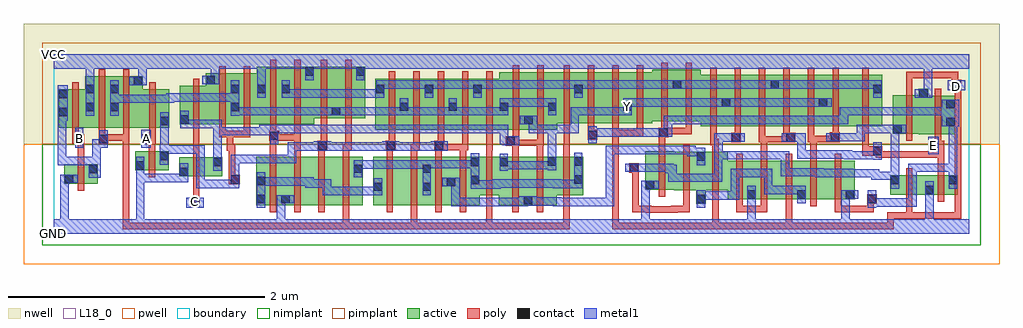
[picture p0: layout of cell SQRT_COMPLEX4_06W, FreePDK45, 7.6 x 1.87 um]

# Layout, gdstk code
import gdstk
lib = gdstk.Library(unit=1e-6, precision=1e-09)
def R(c, l, rs):  # rectangles x0, y0, x1, y1
    for r in rs: c.add(gdstk.rectangle(r[:2], r[2:], *l))
def A(c, l, x, y, w, h, nx, ny, dx, dy):  # array of equal rectangles
    R(c, l, [(x+i*dx, y+j*dy, x+i*dx+w, y+j*dy+h) for i in range(nx) for j in range(ny)])
active = (1, 0)
pwell = (2, 0)
nwell = (3, 0)
nimplant = (4, 0)
pimplant = (5, 0)
poly = (9, 0)
contact = (10, 0)
metal1 = (11, 0)
L18_0 = (18, 0)
boundary = (235, 0)

sqrt_complex4_06w = lib.new_cell('SQRT_COMPLEX4_06W')
R(sqrt_complex4_06w, active, [(1.577,0.225,1.842,0.6), (1.577,0.225,1.652,0.6), (1.767,0.225,1.842,0.55), (1.767,0.225,1.992,0.6), (1.992,0.225,2.182,0.6), (2.182,0.225,2.407,0.6), (2.487,0.225,2.712,0.6), (2.487,0.225,2.562,0.527), (2.712,0.225,2.942,0.6), (2.867,0.225,3.132,0.6), (3.057,0.225,3.132,0.55), (3.057,0.225,3.317,0.6), (3.467,0.225,3.73,0.6), (3.655,0.225,3.917,0.6), (3.655,0.225,3.73,0.55), (2.867,0.235,2.942,0.55), (5.002,0.235,5.077,0.64), (2.332,0.27,2.407,0.6), (5.247,0.27,5.472,0.57), (5.397,0.27,5.627,0.57), (5.397,0.27,5.472,0.55), (5.627,0.27,5.862,0.57), (5.787,0.27,6.012,0.57), (5.787,0.27,5.862,0.437), (6.012,0.27,6.237,0.57), (6.162,0.27,6.237,0.42), (3.242,0.3,3.542,0.6), (3.842,0.3,4.122,0.6), (6.515,0.305,6.855,0.455), (6.78,0.305,6.855,0.38), (6.78,0.305,7.04,0.455), (3.242,0.33,3.317,0.597), (4.047,0.33,4.122,0.6), (6.515,0.335,6.59,0.455), (4.832,0.34,5.077,0.64), (5.002,0.34,5.247,0.64), (3.467,0.345,3.542,0.595), (3.842,0.345,3.917,0.6), (4.607,0.345,4.832,0.645), (4.607,0.345,4.682,0.547), (6.965,0.38,7.04,0.455), (0.082,0.392,0.342,0.542), (0.082,0.392,0.157,0.542), (0.977,0.447,1.052,0.597), (0.977,0.447,1.312,0.597), (0.267,0.467,0.342,0.542), (0.637,0.495,0.897,0.645), (0.637,0.495,0.712,0.645), (0.822,0.495,0.897,0.645), (1.237,0.495,1.312,0.597), (6.737,0.775,7.02,1.075), (6.945,0.775,7.02,1.055), (6.532,0.78,6.812,1.08), (6.532,0.78,6.607,0.94), (6.737,0.795,6.812,1.13), (2.505,0.81,2.765,1.21), (2.69,0.81,2.96,1.21), (2.885,0.81,3.145,1.21), (3.07,0.81,3.337,1.21), (3.262,0.81,3.545,1.21), (3.47,0.81,3.735,1.26), (3.47,0.81,3.545,1.07), (3.66,0.81,3.92,1.26), (3.66,0.81,3.735,0.94), (0.04,0.827,0.32,1.127), (0.04,0.827,0.115,1.127), (0.245,0.827,0.51,1.227), (0.245,0.827,0.32,1.165), (0.435,0.827,0.695,1.227), (0.435,0.827,0.51,1.165), (0.62,0.827,0.9,1.127), (5.04,0.84,5.272,1.24), (5.197,0.84,5.422,1.24), (5.422,0.84,5.652,1.24), (5.577,0.84,5.802,1.24), (5.802,0.84,6.027,1.24), (5.952,0.84,6.21,1.24), (6.21,0.84,6.452,1.24), (0.825,0.842,0.9,1.055), (3.262,0.85,3.337,1.165), (0.98,0.852,1.26,1.152), (0.98,0.852,1.055,1.07), (1.185,0.852,1.45,1.252), (1.185,0.852,1.26,1.237), (1.375,0.852,1.655,1.252), (1.375,0.852,1.45,1.2), (1.58,0.852,1.845,1.302), (1.58,0.852,1.655,1.222), (1.77,0.852,2.03,1.302), (1.77,0.852,1.845,1.2), (3.845,0.86,4.125,1.26), (3.845,0.86,3.92,1.07), (4.05,0.86,4.28,1.26), (4.05,0.86,4.125,1.2), (4.28,0.86,4.507,1.26), (4.432,0.86,4.66,1.26), (0.62,0.875,0.695,1.227), (4.66,0.877,4.89,1.277), (4.815,0.877,5.04,1.277), (4.432,0.897,4.507,1.07), (1.955,0.902,2.235,1.302), (2.16,0.902,2.235,1.07), (2.16,0.902,2.425,1.302), (2.69,0.902,2.765,1.07), (3.07,0.902,3.145,1.07), (1.955,0.907,2.03,1.302), (2.35,0.907,2.425,1.302), (2.505,0.907,2.58,1.167), (2.885,0.907,2.96,1.165), (4.815,0.907,4.89,1.2), (5.197,0.907,5.272,1.07), (5.577,0.907,5.652,1.2), (5.952,0.907,6.027,1.07), (6.377,0.907,6.452,1.165)])
R(sqrt_complex4_06w, pwell, [(-0.235,-0.235,7.365,0.7)])
R(sqrt_complex4_06w, nwell, [(-0.235,0.7,7.365,1.635)])
R(sqrt_complex4_06w, nimplant, [(-0.09,-0.09,7.22,0.7)])
R(sqrt_complex4_06w, pimplant, [(-0.09,0.7,7.22,1.49)])
A(sqrt_complex4_06w, poly, 1.682, 0.17, 0.05, 0.485, 4, 1, 0.19, 0)
A(sqrt_complex4_06w, poly, 2.592, 0.17, 0.05, 0.485, 4, 1, 0.19, 0)
A(sqrt_complex4_06w, poly, 5.702, 0.215, 0.05, 0.41, 3, 1, 0.19, 0)
A(sqrt_complex4_06w, poly, 2.592, 0.605, 0.05, 0.095, 4, 1, 0.19, 0)
A(sqrt_complex4_06w, poly, 2.61, 0.755, 0.05, 0.51, 5, 1, 0.19, 0)
A(sqrt_complex4_06w, poly, 4.16, 0.76, 0.05, 0.095, 3, 1, 0.19, 0)
A(sqrt_complex4_06w, poly, 5.112, 0.785, 0.05, 0.51, 5, 1, 0.19, 0)
A(sqrt_complex4_06w, poly, 3.97, 0.805, 0.05, 0.51, 4, 1, 0.19, 0)
R(sqrt_complex4_06w, poly, [(0.537,0.037,0.587,0.087), (0.537,0.037,0.587,0.087), (0.537,0.037,0.587,0.087), (0.537,0.037,0.587,0.087), (0.537,0.037,0.587,0.087), (0.537,0.037,0.847,0.087), (0.537,0.037,0.587,0.777), (0.797,0.037,0.847,0.087), (0.797,0.037,0.847,0.087), (0.797,0.037,0.847,0.087), (0.797,0.037,0.98,0.087), (0.93,0.037,0.98,0.087), (0.93,0.037,0.98,0.087), (0.93,0.037,0.98,0.087), (0.93,0.037,0.98,0.087), (0.93,0.037,0.98,0.087), (0.93,0.037,1.242,0.087), (1.192,0.037,1.242,0.087), (1.192,0.037,1.375,0.087), (1.325,0.037,1.375,0.087), (1.325,0.037,1.375,0.087), (1.325,0.037,1.375,0.087), (1.325,0.037,1.597,0.087), (1.547,0.037,1.597,0.087), (1.547,0.037,1.597,0.087), (1.547,0.037,1.597,0.087), (1.547,0.037,1.73,0.087), (1.68,0.037,1.73,0.087), (1.68,0.037,1.887,0.087), (1.837,0.037,1.887,0.087), (1.837,0.037,1.887,0.087), (1.837,0.037,1.887,0.087), (1.837,0.037,2.02,0.087), (1.97,0.037,2.02,0.087), (1.97,0.037,2.02,0.087), (1.97,0.037,2.02,0.087), (1.97,0.037,2.302,0.087), (2.252,0.037,2.302,0.087), (2.252,0.037,2.302,0.087), (2.252,0.037,2.302,0.087), (2.252,0.037,2.435,0.087), (2.252,0.037,2.302,0.22), (2.385,0.037,2.435,0.087), (2.385,0.037,2.567,0.087), (2.517,0.037,2.567,0.087), (2.517,0.037,2.567,0.087), (2.517,0.037,2.567,0.087), (2.517,0.037,2.832,0.087), (2.782,0.037,2.832,0.087), (2.782,0.037,2.832,0.087), (2.782,0.037,2.832,0.087), (2.782,0.037,2.832,0.22), (2.782,0.037,3.08,0.087), (3.03,0.037,3.08,0.087), (3.03,0.037,3.08,0.087), (3.03,0.037,3.08,0.087), (3.03,0.037,3.212,0.087), (3.162,0.037,3.212,0.087), (3.162,0.037,3.212,0.087), (3.162,0.037,3.212,0.087), (3.162,0.037,3.417,0.087), (3.367,0.037,3.417,0.087), (3.367,0.037,3.417,0.087), (3.367,0.037,3.417,0.087), (3.367,0.037,3.417,0.295), (3.367,0.037,3.652,0.087), (3.602,0.037,3.652,0.087), (3.602,0.037,3.652,0.087), (3.602,0.037,3.652,0.087), (3.602,0.037,3.785,0.087), (3.735,0.037,3.785,0.087), (3.735,0.037,3.785,0.087), (3.735,0.037,3.785,0.087), (3.735,0.037,4.017,0.087), (3.967,0.037,4.017,0.087), (3.967,0.037,4.017,0.087), (3.967,0.037,4.017,0.087), (3.967,0.037,4.017,0.295), (4.35,0.037,4.4,0.087), (4.35,0.037,4.4,0.087), (4.35,0.037,4.4,0.087), (4.35,0.037,4.4,0.087), (4.35,0.037,4.4,0.087), (4.35,0.037,4.4,0.087), (4.35,0.037,4.4,0.087), (4.35,0.037,4.4,0.087), (4.35,0.037,4.4,0.087), (4.35,0.037,4.4,0.087), (4.35,0.037,4.4,0.087), (4.35,0.037,4.56,0.087), (4.35,0.037,4.4,0.81), (4.51,0.037,4.56,0.087), (4.51,0.037,4.56,0.087), (4.51,0.037,4.56,0.087), (4.51,0.037,4.797,0.087), (4.747,0.037,4.797,0.087), (4.747,0.037,4.797,0.087), (4.747,0.037,4.797,0.087), (4.747,0.037,5.03,0.087), (4.98,0.037,5.03,0.087), (4.98,0.037,5.03,0.087), (4.98,0.037,5.03,0.087), (4.98,0.037,5.177,0.087), (5.127,0.037,5.177,0.087), (5.127,0.037,5.177,0.087), (5.127,0.037,5.177,0.087), (5.127,0.037,5.177,0.087), (5.127,0.037,5.177,0.087), (5.127,0.037,5.41,0.087), (5.127,0.037,5.177,0.335), (5.36,0.037,5.41,0.087), (5.36,0.037,5.41,0.087), (5.36,0.037,5.41,0.087), (5.36,0.037,5.542,0.087), (5.492,0.037,5.542,0.087), (5.492,0.037,5.542,0.087), (5.492,0.037,5.542,0.087), (5.492,0.037,5.752,0.087), (5.702,0.037,5.752,0.087), (5.702,0.037,5.752,0.087), (5.702,0.037,5.752,0.087), (5.702,0.037,5.752,0.087), (5.702,0.037,5.752,0.087), (5.702,0.037,5.962,0.087), (5.702,0.037,5.752,0.265), (5.912,0.037,5.962,0.087), (5.912,0.037,5.962,0.087), (5.912,0.037,5.962,0.087), (5.912,0.037,6.215,0.087), (6.165,0.037,6.215,0.087), (6.165,0.037,6.215,0.087), (6.165,0.037,6.215,0.087), (6.165,0.037,6.542,0.087), (6.492,0.037,6.542,0.087), (6.492,0.037,6.542,0.087), (6.492,0.037,6.542,0.087), (6.492,0.037,6.542,0.087), (6.492,0.037,6.542,0.087), (6.492,0.037,6.542,0.167), (6.492,0.117,6.542,0.167), (6.492,0.117,6.687,0.167), (6.637,0.117,6.687,0.167), (6.637,0.117,6.687,0.167), (6.637,0.117,6.687,0.167), (6.637,0.117,6.91,0.167), (6.637,0.117,6.687,0.3), (6.86,0.117,6.91,0.167), (6.86,0.117,6.91,0.167), (6.86,0.117,6.91,0.167), (6.86,0.117,7.067,0.167), (7.017,0.117,7.067,0.167), (7.017,0.117,7.067,0.167), (7.017,0.117,7.067,0.167), (7.017,0.117,7.067,0.167), (7.017,0.117,7.067,0.167), (7.017,0.117,7.067,0.167), (7.017,0.117,7.067,0.167), (7.017,0.117,7.067,0.167), (7.017,0.117,7.067,0.167), (7.017,0.117,7.067,0.167), (7.017,0.117,7.067,0.167), (7.017,0.117,7.067,1.175), (4.605,0.165,4.655,0.22), (4.605,0.165,4.82,0.215), (4.77,0.165,4.82,0.215), (4.77,0.165,4.86,0.215), (4.81,0.165,4.86,0.22), (3.572,0.17,3.622,0.655), (3.762,0.17,3.812,0.655), (4.507,0.17,4.557,0.22), (4.507,0.17,4.655,0.22), (4.507,0.17,4.557,0.527), (4.81,0.17,4.952,0.22), (4.902,0.17,4.952,0.22), (4.902,0.17,4.952,0.335), (5.317,0.17,5.367,0.22), (5.317,0.17,5.367,0.22), (5.317,0.17,5.367,0.22), (5.317,0.17,5.367,0.265), (5.317,0.17,5.557,0.22), (5.507,0.17,5.557,0.22), (5.507,0.17,5.557,0.265), (6.082,0.17,6.132,0.22), (6.082,0.17,6.132,0.22), (6.082,0.17,6.132,0.22), (6.082,0.17,6.132,0.265), (6.082,0.17,6.385,0.22), (6.335,0.17,6.385,0.22), (6.335,0.17,6.385,0.285), (1.062,0.212,1.137,0.287), (5.317,0.215,5.367,0.625), (5.507,0.215,5.557,0.625), (6.335,0.235,6.41,0.31), (1.085,0.237,1.135,0.442), (3.367,0.245,3.417,0.655), (3.967,0.245,4.017,0.655), (6.637,0.25,6.687,0.51), (6.885,0.25,6.935,0.51), (4.902,0.285,4.952,0.695), (5.127,0.285,5.177,0.695), (4.712,0.29,4.762,0.7), (0.187,0.337,0.237,0.597), (1.362,0.385,1.45,0.46), (1.085,0.392,1.135,0.652), (1.362,0.41,1.412,0.697), (0.742,0.44,0.792,0.7), (6.885,0.46,6.935,0.642), (4.482,0.477,4.557,0.552), (4.507,0.477,4.557,0.527), (4.507,0.477,4.557,0.527), (0.187,0.547,0.237,0.752), (5.507,0.575,5.557,0.762), (5.892,0.575,5.942,0.765), (6.402,0.592,6.675,0.642), (6.402,0.592,6.452,0.657), (6.625,0.592,6.675,0.642), (6.625,0.592,6.675,0.642), (6.625,0.592,6.675,0.642), (6.625,0.592,6.87,0.642), (6.82,0.592,6.87,0.642), (6.82,0.592,6.87,0.642), (6.82,0.592,6.935,0.725), (1.085,0.602,1.135,0.802), (1.682,0.605,1.732,0.777), (1.872,0.605,1.922,0.777), (2.062,0.605,2.112,0.7), (2.252,0.605,2.302,0.7), (3.367,0.605,3.417,0.7), (3.572,0.605,3.622,0.735), (3.762,0.605,3.812,0.735), (3.967,0.605,4.017,0.702), (6.297,0.607,6.452,0.682), (6.402,0.607,6.452,0.657), (6.297,0.632,6.347,0.835), (5.127,0.645,5.177,0.74), (1.347,0.647,1.412,0.697), (1.347,0.647,1.397,0.802), (0.742,0.65,0.792,0.752), (2.057,0.65,2.132,0.725), (2.252,0.65,2.32,0.7), (2.27,0.65,2.32,0.897), (2.587,0.65,2.662,0.725), (2.782,0.65,2.85,0.7), (2.8,0.65,2.85,0.805), (2.965,0.65,3.04,0.725), (2.99,0.65,3.212,0.7), (3.162,0.65,3.212,0.7), (3.162,0.65,3.212,0.7), (3.162,0.65,3.23,0.7), (3.18,0.65,3.23,0.805), (3.367,0.65,3.42,0.7), (3.37,0.65,3.42,0.805), (4.712,0.65,4.762,0.802), (3.967,0.652,4.02,0.702), (3.97,0.652,4.02,0.855), (2.08,0.675,2.13,0.897), (2.61,0.675,2.66,0.805), (2.99,0.675,3.04,0.805), (6.862,0.675,6.912,0.77), (3.522,0.685,3.625,0.76), (3.575,0.685,3.812,0.735), (3.762,0.685,3.812,0.735), (3.762,0.685,3.812,0.735), (3.762,0.685,3.815,0.735), (3.765,0.685,3.815,0.805), (5.112,0.69,5.177,0.74), (5.112,0.69,5.162,0.835), (0.145,0.702,0.237,0.777), (0.35,0.702,0.425,0.777), (0.685,0.702,0.795,0.777), (3.575,0.71,3.625,0.805), (5.277,0.712,5.352,0.787), (5.492,0.712,5.542,0.835), (5.492,0.712,5.557,0.762), (5.507,0.712,5.557,0.762), (5.507,0.712,5.557,0.762), (5.507,0.712,5.732,0.762), (5.682,0.712,5.775,0.787), (5.872,0.715,5.922,0.835), (5.872,0.715,5.942,0.765), (5.892,0.715,5.942,0.765), (5.892,0.715,5.942,0.765), (5.892,0.715,6.095,0.765), (6.045,0.715,6.12,0.79), (6.862,0.72,6.912,1.13), (6.637,0.725,6.687,1.135), (0.145,0.727,0.195,0.822), (0.35,0.727,0.4,0.822), (0.375,0.727,0.425,0.777), (0.375,0.727,0.425,0.777), (0.375,0.727,0.587,0.777), (0.537,0.727,0.587,0.777), (0.537,0.727,0.587,0.777), (0.537,0.727,0.59,0.777), (0.54,0.727,0.59,0.822), (0.745,0.727,0.795,0.822), (1.68,0.727,1.755,0.802), (1.705,0.727,1.755,0.777), (1.705,0.727,1.755,0.777), (1.705,0.727,1.922,0.777), (1.872,0.727,1.925,0.777), (1.875,0.727,1.925,0.847), (4.157,0.735,4.232,0.81), (5.302,0.737,5.352,0.835), (5.682,0.737,5.732,0.835), (6.065,0.74,6.115,0.835), (1.085,0.752,1.135,0.802), (1.085,0.752,1.135,0.847), (1.29,0.752,1.34,0.847), (1.29,0.752,1.397,0.802), (1.347,0.752,1.397,0.802), (1.347,0.752,1.397,0.802), (1.347,0.752,1.53,0.802), (1.48,0.752,1.53,0.802), (1.48,0.752,1.53,0.847), (1.685,0.752,1.735,0.847), (4.712,0.752,4.787,0.827), (3.575,0.755,3.625,1.315), (3.765,0.755,3.815,1.315), (4.35,0.76,4.4,0.81), (4.35,0.76,4.4,0.81), (4.35,0.76,4.4,0.81), (4.35,0.76,4.59,0.81), (4.54,0.76,4.59,0.81), (0.145,0.772,0.195,1.182), (0.35,0.772,0.4,1.282), (0.54,0.772,0.59,1.282), (0.745,0.772,0.795,1.182), (4.73,0.777,4.78,0.872), (4.737,0.777,4.787,0.827), (4.737,0.777,4.787,0.827), (4.737,0.777,4.97,0.827), (4.92,0.777,4.97,0.827), (4.92,0.777,4.97,0.872), (6.065,0.785,6.115,1.295), (6.297,0.785,6.347,1.295), (1.085,0.797,1.135,1.207), (1.29,0.797,1.34,1.307), (1.48,0.797,1.53,1.307), (1.685,0.797,1.735,1.357), (1.875,0.797,1.925,1.357), (4.73,0.822,4.78,1.332), (4.92,0.822,4.97,1.332), (2.08,0.847,2.13,1.357), (2.27,0.847,2.32,1.357), (6.637,1.085,6.687,1.262), (6.992,1.125,7.067,1.2), (7.017,1.125,7.067,1.175), (7.017,1.125,7.067,1.175), (6.992,1.15,7.042,1.262), (6.637,1.212,6.687,1.262), (6.637,1.212,6.82,1.262), (6.77,1.212,6.82,1.262), (6.77,1.212,6.82,1.262), (6.77,1.212,6.82,1.262), (6.77,1.212,7.042,1.262), (6.992,1.212,7.042,1.262), (6.992,1.212,7.042,1.262), (6.992,1.212,7.042,1.262)])
R(sqrt_complex4_06w, contact, [(1.067,0.217,1.132,0.282), (3.66,0.23,3.725,0.295), (1.772,0.237,1.837,0.302), (1.582,0.24,1.647,0.305), (5.007,0.24,5.072,0.305), (6.34,0.24,6.405,0.305), (5.402,0.275,5.467,0.34), (5.792,0.275,5.857,0.34), (6.167,0.275,6.232,0.34), (6.785,0.31,6.85,0.375), (2.492,0.335,2.557,0.4), (2.872,0.335,2.937,0.4), (4.612,0.35,4.677,0.415), (3.062,0.372,3.127,0.437), (1.582,0.38,1.647,0.445), (6.52,0.385,6.585,0.45), (6.97,0.385,7.035,0.45), (3.247,0.387,3.312,0.452), (1.38,0.39,1.445,0.455), (4.052,0.39,4.117,0.455), (0.087,0.397,0.152,0.462), (0.982,0.452,1.047,0.517), (0.272,0.472,0.337,0.537), (2.337,0.475,2.402,0.54), (2.872,0.475,2.937,0.54), (4.487,0.482,4.552,0.547), (0.642,0.5,0.707,0.565), (3.472,0.525,3.537,0.59), (1.242,0.527,1.307,0.592), (3.247,0.527,3.312,0.592), (3.847,0.53,3.912,0.595), (4.052,0.53,4.117,0.595), (5.007,0.57,5.072,0.635), (0.827,0.575,0.892,0.64), (6.382,0.612,6.447,0.677), (2.062,0.655,2.127,0.72), (2.592,0.655,2.657,0.72), (2.97,0.655,3.035,0.72), (6.825,0.655,6.89,0.72), (3.527,0.69,3.592,0.755), (0.167,0.707,0.232,0.772), (0.355,0.707,0.42,0.772), (0.69,0.707,0.755,0.772), (5.282,0.717,5.347,0.782), (5.705,0.717,5.77,0.782), (6.05,0.72,6.115,0.785), (1.685,0.732,1.75,0.797), (4.162,0.74,4.227,0.805), (4.717,0.757,4.782,0.822), (6.537,0.785,6.602,0.85), (6.95,0.84,7.015,0.905), (0.83,0.847,0.895,0.912), (3.665,0.855,3.73,0.92), (0.985,0.857,1.05,0.922), (0.045,0.917,0.11,0.982), (2.165,0.922,2.23,0.987), (0.25,0.955,0.315,1.02), (0.44,0.955,0.505,1.02), (1.38,0.955,1.445,1.02), (2.695,0.957,2.76,1.022), (3.075,0.957,3.14,1.022), (3.475,0.957,3.54,1.022), (3.85,0.957,3.915,1.022), (4.437,0.957,4.502,1.022), (6.95,0.98,7.015,1.045), (5.202,0.992,5.267,1.057), (5.957,0.992,6.022,1.057), (0.045,1.057,0.11,1.122), (6.742,1.06,6.807,1.125), (0.25,1.095,0.315,1.16), (0.44,1.095,0.505,1.16), (1.38,1.095,1.445,1.16), (1.585,1.095,1.65,1.16), (1.775,1.095,1.84,1.16), (2.51,1.095,2.575,1.16), (2.89,1.095,2.955,1.16), (3.267,1.095,3.332,1.16), (4.055,1.095,4.12,1.16), (6.382,1.095,6.447,1.16), (4.82,1.13,4.885,1.195), (5.582,1.13,5.647,1.195), (6.997,1.13,7.062,1.195), (0.625,1.157,0.69,1.222), (1.19,1.167,1.255,1.232), (1.96,1.232,2.025,1.297), (2.355,1.232,2.42,1.297)])
A(sqrt_complex4_06w, metal1, 2.375, 0.785, 0.065, 0.065, 3, 1, 0.16, 0)
R(sqrt_complex4_06w, metal1, [(0,0,7.13,0.115), (0.052,0.05,0.117,0.115), (0.052,0.05,0.117,0.115), (0.052,0.05,0.117,0.115), (0.052,0.05,0.117,0.115), (0.052,0.05,0.117,0.462), (0.642,0.05,0.707,0.115), (0.642,0.05,0.707,0.115), (0.642,0.05,0.707,0.115), (0.642,0.05,0.707,0.115), (0.642,0.05,0.707,0.115), (0.642,0.05,0.707,0.115), (0.642,0.05,0.707,0.53), (1.737,0.05,1.802,0.115), (1.737,0.05,1.802,0.115), (1.737,0.05,1.802,0.115), (1.737,0.05,1.802,0.115), (1.737,0.05,1.802,0.302), (4.577,0.05,4.642,0.115), (4.577,0.05,4.642,0.115), (4.577,0.05,4.642,0.115), (4.577,0.05,4.642,0.115), (4.577,0.05,4.642,0.415), (5.402,0.05,5.467,0.115), (5.402,0.05,5.467,0.115), (5.402,0.05,5.467,0.115), (5.402,0.05,5.467,0.115), (5.402,0.05,5.467,0.305), (6.132,0.05,6.197,0.115), (6.132,0.05,6.197,0.115), (6.132,0.05,6.197,0.115), (6.132,0.05,6.197,0.115), (6.132,0.05,6.197,0.34), (6.787,0.05,6.852,0.115), (6.787,0.05,6.852,0.115), (6.787,0.05,6.852,0.115), (6.787,0.05,6.852,0.115), (6.787,0.05,6.852,0.115), (6.787,0.05,6.852,0.115), (6.787,0.05,6.852,0.34), (1.032,0.205,1.167,0.282), (1.582,0.205,1.647,0.48), (5.007,0.205,5.072,0.34), (6.34,0.205,6.405,0.34), (6.34,0.212,6.567,0.277), (6.502,0.212,6.567,0.277), (6.502,0.212,6.567,0.277), (6.502,0.212,6.567,0.277), (6.502,0.212,6.715,0.277), (6.65,0.212,6.715,0.277), (6.65,0.212,6.715,0.277), (6.65,0.212,6.72,0.277), (6.655,0.212,6.72,0.547), (3.097,0.215,3.162,0.28), (3.097,0.215,3.162,0.28), (3.097,0.215,3.162,0.28), (3.097,0.215,3.315,0.28), (3.097,0.215,3.162,0.437), (3.25,0.215,3.315,0.28), (3.25,0.215,3.315,0.28), (3.25,0.215,3.315,0.28), (3.25,0.215,3.482,0.28), (3.417,0.215,3.482,0.28), (3.417,0.215,3.482,0.28), (3.417,0.215,3.482,0.28), (3.417,0.215,3.69,0.28), (3.625,0.215,3.69,0.28), (3.625,0.215,3.69,0.287), (3.887,0.217,4.1,0.282), (3.887,0.217,3.952,0.285), (4.035,0.217,4.1,0.282), (4.035,0.217,4.247,0.282), (4.182,0.217,4.247,0.282), (4.182,0.217,4.247,0.282), (4.182,0.217,4.247,0.282), (4.182,0.217,4.365,0.282), (4.3,0.217,4.365,0.282), (4.3,0.217,4.365,0.685), (3.695,0.22,3.76,0.287), (3.695,0.22,3.952,0.285), (3.887,0.22,3.952,0.285), (3.887,0.22,3.952,0.285), (3.625,0.222,3.76,0.295), (3.695,0.222,3.76,0.287), (1.737,0.237,1.872,0.302), (5.402,0.24,5.467,0.375), (5.792,0.24,5.857,0.375), (5.007,0.267,5.137,0.332), (5.072,0.267,5.137,0.332), (5.072,0.267,5.21,0.332), (5.145,0.267,5.21,0.332), (5.145,0.267,5.337,0.332), (5.272,0.267,5.337,0.332), (5.272,0.267,5.337,0.507), (6.132,0.275,6.267,0.34), (6.785,0.275,6.852,0.41), (2.492,0.3,2.557,0.435), (2.872,0.3,2.937,0.575), (2.097,0.302,2.302,0.367), (2.097,0.302,2.162,0.425), (2.237,0.302,2.302,0.367), (2.237,0.302,2.402,0.367), (2.337,0.302,2.402,0.367), (2.337,0.302,2.557,0.367), (5.532,0.31,5.597,0.375), (5.532,0.31,5.597,0.507), (5.532,0.31,5.612,0.375), (5.547,0.31,5.612,0.375), (5.547,0.31,5.735,0.375), (5.67,0.31,5.735,0.375), (5.67,0.31,5.857,0.375), (4.577,0.35,4.712,0.415), (6.52,0.35,6.585,0.485), (6.97,0.35,7.035,0.547), (3.247,0.352,3.312,0.417), (3.247,0.352,3.315,0.417), (3.247,0.352,3.312,0.627), (3.25,0.352,3.315,0.417), (3.25,0.352,3.315,0.417), (3.25,0.352,3.482,0.417), (3.417,0.352,3.482,0.417), (3.417,0.352,3.482,0.417), (3.417,0.352,3.482,0.425), (1.112,0.355,1.177,0.42), (1.112,0.355,1.177,0.69), (1.112,0.355,1.307,0.42), (1.242,0.355,1.307,0.42), (1.242,0.355,1.445,0.42), (1.38,0.355,1.445,0.49), (4.052,0.355,4.117,0.63), (3.887,0.357,3.952,0.422), (3.887,0.357,3.952,0.422), (3.887,0.357,3.952,0.425), (3.887,0.357,4.117,0.422), (1.96,0.36,2.025,0.425), (1.96,0.36,2.025,0.425), (1.96,0.36,2.162,0.425), (1.96,0.36,2.025,0.44), (3.417,0.36,3.765,0.425), (3.7,0.36,3.765,0.425), (3.7,0.36,3.765,0.425), (3.7,0.36,3.765,0.425), (3.7,0.36,3.952,0.425), (3.027,0.372,3.162,0.437), (1.582,0.375,1.75,0.44), (1.685,0.375,1.75,0.44), (1.685,0.375,1.887,0.44), (1.822,0.375,1.887,0.44), (1.822,0.375,1.887,0.44), (1.822,0.375,1.887,0.44), (1.822,0.375,2.025,0.44), (0.052,0.397,0.117,0.462), (0.052,0.397,0.117,0.462), (0.052,0.397,0.187,0.462), (0.642,0.402,0.892,0.467), (0.642,0.402,0.707,0.53), (0.827,0.402,0.892,0.467), (0.827,0.402,1.047,0.467), (0.982,0.402,1.047,0.552), (4.785,0.405,4.85,0.537), (4.785,0.405,4.965,0.47), (4.9,0.405,4.965,0.47), (4.9,0.405,5.07,0.47), (5.005,0.405,5.07,0.47), (5.005,0.405,5.137,0.47), (5.072,0.405,5.137,0.47), (5.072,0.405,5.207,0.47), (5.142,0.405,5.207,0.47), (5.142,0.405,5.207,0.645), (6.365,0.42,6.577,0.485), (6.365,0.42,6.43,0.505), (6.512,0.42,6.577,0.485), (6.512,0.42,6.585,0.485), (6.52,0.42,6.585,0.485), (6.52,0.42,6.585,0.485), (6.52,0.42,6.585,0.85), (1.38,0.425,1.445,0.49), (1.38,0.425,1.445,0.49), (1.38,0.425,1.445,0.617), (0.272,0.437,0.367,0.6), (2.337,0.44,2.402,0.575), (6.162,0.44,6.43,0.505), (6.162,0.44,6.227,0.507), (5.272,0.442,5.337,0.507), (5.272,0.442,5.475,0.507), (5.41,0.442,5.475,0.507), (5.41,0.442,5.597,0.507), (5.532,0.442,5.597,0.507), (5.93,0.442,6.227,0.507), (5.93,0.442,5.995,0.512), (6.162,0.442,6.227,0.507), (6.162,0.442,6.227,0.507), (5.662,0.447,5.727,0.512), (5.662,0.447,5.805,0.512), (5.662,0.447,5.727,0.645), (5.74,0.447,5.805,0.512), (5.74,0.447,5.857,0.512), (5.792,0.447,5.857,0.512), (5.792,0.447,5.942,0.512), (5.877,0.447,5.942,0.512), (5.877,0.447,5.995,0.512), (0.642,0.465,0.707,0.53), (0.642,0.465,0.707,0.6), (4.762,0.472,4.85,0.537), (4.762,0.472,4.827,0.547), (4.452,0.482,4.587,0.547), (4.522,0.482,4.642,0.547), (4.577,0.482,4.642,0.547), (4.577,0.482,4.827,0.547), (6.655,0.482,6.722,0.547), (6.657,0.482,6.722,0.547), (6.657,0.482,6.722,0.547), (6.657,0.482,6.86,0.547), (6.795,0.482,6.86,0.547), (6.795,0.482,7.035,0.547), (6.97,0.482,7.035,0.547), (6.97,0.482,7.035,0.547), (6.97,0.482,7.035,0.905), (3.472,0.49,3.537,0.625), (1.242,0.492,1.307,0.627), (3.847,0.495,3.912,0.63), (3.472,0.502,3.537,0.567), (3.472,0.502,3.537,0.567), (3.472,0.502,3.775,0.567), (3.71,0.502,3.775,0.567), (3.71,0.502,3.775,0.567), (3.71,0.502,3.775,0.567), (3.71,0.502,3.912,0.567), (2.337,0.507,2.622,0.572), (2.557,0.507,2.622,0.572), (2.557,0.507,2.622,0.572), (2.557,0.507,2.622,0.572), (2.557,0.507,2.76,0.572), (2.695,0.507,2.76,0.572), (2.695,0.507,2.83,0.572), (2.765,0.507,2.83,0.572), (2.765,0.507,2.937,0.572), (2.872,0.51,2.967,0.575), (2.902,0.51,2.967,0.575), (2.902,0.51,3.175,0.575), (3.11,0.51,3.175,0.575), (3.11,0.51,3.175,0.575), (3.11,0.51,3.175,0.575), (3.11,0.51,3.312,0.575), (0.032,0.535,0.097,0.6), (0.032,0.535,0.097,0.6), (0.032,0.535,0.097,0.6), (0.032,0.535,0.337,0.6), (0.032,0.535,0.097,0.947), (0.302,0.535,0.367,0.737), (5.007,0.535,5.072,0.67), (0.827,0.54,0.892,0.69), (1.38,0.552,1.445,0.617), (1.38,0.552,1.612,0.617), (1.547,0.552,1.612,0.617), (1.547,0.552,1.635,0.617), (1.57,0.552,1.635,0.617), (1.57,0.552,1.75,0.617), (1.685,0.552,1.75,0.617), (1.685,0.552,1.887,0.617), (1.822,0.552,1.887,0.617), (1.822,0.552,1.887,0.712), (1.242,0.562,1.307,0.832), (3.847,0.565,3.912,0.85), (6.382,0.577,6.447,0.642), (6.382,0.577,6.447,0.712), (6.382,0.577,6.447,0.645), (5.142,0.58,5.21,0.645), (5.145,0.58,5.337,0.645), (5.145,0.58,5.21,0.782), (5.272,0.58,5.337,0.645), (5.272,0.58,5.475,0.645), (5.41,0.58,5.475,0.645), (5.41,0.58,5.475,0.645), (5.41,0.58,5.475,0.645), (5.41,0.58,5.727,0.645), (5.662,0.58,5.727,0.645), (6.152,0.58,6.217,0.645), (6.152,0.58,6.217,0.645), (6.152,0.58,6.447,0.645), (6.152,0.58,6.217,0.65), (5.792,0.585,5.857,0.65), (5.792,0.585,5.857,0.782), (5.792,0.585,5.942,0.65), (5.877,0.585,5.942,0.65), (5.877,0.585,6.057,0.65), (5.992,0.585,6.057,0.65), (5.992,0.585,6.217,0.65), (4.935,0.605,5.072,0.67), (4.935,0.605,5,0.685), (4.3,0.62,4.365,0.685), (4.3,0.62,4.382,0.685), (4.317,0.62,4.382,0.685), (4.317,0.62,4.502,0.685), (4.437,0.62,4.502,0.685), (4.437,0.62,4.52,0.685), (4.455,0.62,4.52,0.685), (4.455,0.62,4.642,0.685), (4.577,0.62,4.642,0.685), (4.577,0.62,4.827,0.685), (4.762,0.62,4.827,0.685), (4.762,0.62,4.827,0.685), (4.762,0.62,4.827,0.685), (4.762,0.62,5,0.685), (6.812,0.62,6.89,0.757), (0.827,0.625,0.892,0.69), (0.827,0.625,0.892,0.69), (0.827,0.625,0.892,0.69), (0.827,0.625,0.895,0.69), (0.827,0.625,1.177,0.69), (0.83,0.625,0.895,0.877), (1.112,0.625,1.177,0.69), (1.822,0.647,1.887,0.712), (1.822,0.647,1.887,0.712), (1.822,0.647,1.887,0.712), (1.822,0.647,2.025,0.712), (1.96,0.647,2.025,0.712), (1.96,0.647,2.092,0.712), (2.027,0.647,2.162,0.72), (2.097,0.647,2.162,0.712), (2.097,0.647,2.162,0.712), (2.097,0.647,2.302,0.712), (2.237,0.647,2.302,0.712), (2.237,0.647,2.402,0.712), (2.337,0.647,2.402,0.712), (2.337,0.647,2.622,0.712), (2.557,0.647,2.622,0.712), (2.557,0.647,2.622,0.712), (2.557,0.647,2.692,0.72), (2.627,0.647,2.76,0.712), (2.695,0.647,2.76,0.712), (2.695,0.647,2.83,0.712), (2.765,0.647,2.83,0.712), (2.765,0.647,2.897,0.712), (2.832,0.647,2.897,0.712), (2.832,0.647,3,0.712), (2.935,0.647,3.07,0.72), (0.167,0.672,0.232,0.827), (0.302,0.672,0.367,0.737), (0.302,0.672,0.42,0.737), (0.355,0.672,0.42,0.807), (0.68,0.672,0.755,0.812), (3.492,0.69,3.627,0.762), (1.685,0.697,1.75,0.832), (3.475,0.697,3.54,0.762), (3.475,0.697,3.557,0.762), (3.475,0.697,3.54,0.85), (4.162,0.705,4.227,0.84), (5.145,0.717,5.21,0.782), (5.145,0.717,5.312,0.782), (5.247,0.717,5.382,0.782), (5.67,0.717,5.805,0.782), (5.74,0.717,5.857,0.782), (5.792,0.717,5.857,0.782), (6.015,0.72,6.15,0.785), (6.085,0.72,6.317,0.785), (6.252,0.72,6.317,0.785), (6.252,0.72,6.317,0.85), (4.162,0.757,4.365,0.822), (4.3,0.757,4.365,0.822), (4.3,0.757,4.382,0.822), (4.317,0.757,4.382,0.822), (4.317,0.757,4.502,0.822), (4.437,0.757,4.502,0.822), (4.437,0.757,4.52,0.822), (4.455,0.757,4.52,0.822), (4.455,0.757,4.642,0.822), (4.577,0.757,4.642,0.822), (4.577,0.757,4.747,0.822), (4.682,0.757,4.817,0.822), (4.752,0.757,4.817,0.822), (4.752,0.757,4.817,0.822), (4.752,0.757,4.817,0.92), (1.242,0.767,1.307,0.832), (1.242,0.767,1.445,0.832), (1.242,0.767,1.307,0.887), (1.38,0.767,1.445,0.832), (1.38,0.767,1.445,0.832), (1.38,0.767,1.445,0.832), (1.38,0.767,1.582,0.832), (1.517,0.767,1.582,0.832), (1.517,0.767,1.665,0.832), (1.6,0.767,1.665,0.832), (1.6,0.767,1.75,0.832), (1.6,0.767,1.665,0.85), (1.6,0.785,1.665,0.85), (1.6,0.785,1.75,0.85), (1.685,0.785,1.75,0.85), (1.685,0.785,1.887,0.85), (1.822,0.785,1.887,0.85), (1.822,0.785,1.887,0.85), (1.822,0.785,1.887,0.85), (1.822,0.785,2.025,0.85), (1.96,0.785,2.025,0.85), (1.96,0.785,2.165,0.85), (2.1,0.785,2.165,0.85), (2.1,0.785,2.165,0.85), (2.1,0.785,2.165,0.85), (2.1,0.785,2.302,0.85), (2.237,0.785,2.302,0.85), (2.237,0.785,2.402,0.85), (2.337,0.785,2.402,0.85), (2.337,0.785,2.44,0.85), (2.375,0.785,2.6,0.85), (2.535,0.785,2.76,0.85), (2.695,0.785,2.83,0.85), (2.765,0.785,2.83,0.85), (2.765,0.785,2.897,0.85), (2.832,0.785,2.897,0.85), (2.832,0.785,2.967,0.85), (2.902,0.785,2.967,0.85), (2.902,0.785,3.175,0.85), (3.11,0.785,3.175,0.85), (3.11,0.785,3.177,0.85), (3.112,0.785,3.177,0.85), (3.112,0.785,3.345,0.85), (3.28,0.785,3.345,0.85), (3.28,0.785,3.345,0.85), (3.28,0.785,3.345,0.85), (3.28,0.785,3.54,0.85), (3.475,0.785,3.54,0.85), (3.7,0.785,3.765,0.92), (3.7,0.785,3.912,0.85), (3.847,0.785,3.912,0.85), (3.847,0.785,3.912,0.85), (3.847,0.785,3.912,0.85), (3.847,0.785,3.912,0.85), (3.847,0.785,3.912,0.85), (3.847,0.785,4.09,0.85), (4.025,0.785,4.09,0.85), (4.025,0.785,4.09,0.987), (6.252,0.785,6.317,0.85), (6.252,0.785,6.382,0.85), (6.317,0.785,6.382,0.85), (6.317,0.785,6.567,0.85), (6.502,0.785,6.567,0.85), (6.502,0.785,6.567,0.85), (6.502,0.785,6.637,0.85), (6.52,0.785,6.585,0.85), (6.52,0.785,6.585,0.85), (0.83,0.812,0.895,0.947), (0.985,0.822,1.05,0.957), (0.985,0.822,1.307,0.887), (1.242,0.822,1.307,0.887), (1.242,0.822,1.307,0.887), (1.242,0.822,1.307,0.887), (6.915,0.84,7.05,1.045), (6.97,0.84,7.035,0.905), (6.97,0.84,7.035,0.905), (3.63,0.855,3.765,0.92), (3.7,0.855,3.765,0.92), (4.752,0.855,4.817,0.92), (4.752,0.855,4.965,0.92), (4.9,0.855,4.965,0.92), (4.9,0.855,5.07,0.92), (5.005,0.855,5.07,0.92), (5.005,0.855,5.137,0.92), (5.072,0.855,5.137,0.92), (5.072,0.855,5.33,0.92), (5.265,0.855,5.33,0.92), (5.265,0.855,5.33,0.92), (5.265,0.855,5.33,0.92), (5.265,0.855,5.475,0.92), (5.41,0.855,5.475,0.92), (5.41,0.855,5.475,0.92), (5.41,0.855,5.475,0.92), (5.41,0.855,5.65,0.92), (5.585,0.855,5.65,0.92), (5.585,0.855,5.805,0.92), (5.74,0.855,5.805,0.92), (5.74,0.855,5.857,0.92), (5.792,0.855,5.857,0.92), (5.792,0.855,5.942,0.92), (5.877,0.855,5.942,0.92), (5.877,0.855,5.995,0.92), (5.93,0.855,5.995,0.92), (5.93,0.855,6.187,0.92), (6.122,0.855,6.187,0.92), (6.122,0.855,6.187,0.987), (0.032,0.882,0.097,0.947), (0.032,0.882,0.097,0.947), (0.032,0.882,0.11,1.157), (0.25,0.92,0.315,1.195), (0.44,0.92,0.505,1.195), (1.38,0.92,1.445,1.195), (1.38,0.922,1.612,0.987), (1.547,0.922,1.612,0.987), (1.547,0.922,1.612,0.987), (1.547,0.922,1.612,0.987), (1.547,0.922,1.75,0.987), (1.685,0.922,1.75,0.987), (1.685,0.922,1.887,0.987), (1.822,0.922,1.887,0.987), (1.822,0.922,1.887,0.987), (1.822,0.922,1.887,0.987), (1.822,0.922,2.025,0.987), (1.96,0.922,2.025,0.987), (1.96,0.922,2.025,0.987), (1.96,0.922,2.025,0.987), (1.96,0.922,2.195,0.987), (2.13,0.922,2.265,0.987), (2.2,0.922,2.302,0.987), (2.237,0.922,2.302,0.987), (2.237,0.922,2.402,0.987), (2.337,0.922,2.402,0.987), (2.337,0.922,2.622,0.987), (2.557,0.922,2.622,0.987), (2.557,0.922,2.622,0.987), (2.557,0.922,2.622,0.987), (2.557,0.922,2.76,0.987), (2.695,0.922,2.83,0.987), (2.695,0.922,2.76,1.057), (2.765,0.922,2.83,0.987), (2.765,0.922,2.912,0.987), (2.847,0.922,2.912,0.987), (2.847,0.922,2.967,0.987), (2.902,0.922,2.967,0.987), (2.902,0.922,3.14,0.987), (3.075,0.922,3.14,0.987), (3.075,0.922,3.14,0.987), (3.075,0.922,3.14,1.057), (3.075,0.922,3.327,0.987), (3.262,0.922,3.327,0.987), (3.262,0.922,3.327,0.987), (3.262,0.922,3.327,0.987), (3.262,0.922,3.54,0.987), (3.475,0.922,3.54,1.057), (3.85,0.922,3.915,1.057), (4.025,0.922,4.09,0.987), (4.025,0.922,4.09,0.987), (4.025,0.922,4.09,0.987), (4.025,0.922,4.325,0.987), (4.26,0.922,4.325,0.987), (4.26,0.922,4.382,0.987), (4.317,0.922,4.382,0.987), (4.317,0.922,4.502,0.987), (4.437,0.922,4.502,1.057), (6.122,0.922,6.187,0.987), (6.122,0.922,6.205,0.987), (6.14,0.922,6.205,0.987), (6.14,0.922,6.382,0.987), (6.317,0.922,6.382,0.987), (6.317,0.922,6.577,0.987), (6.512,0.922,6.577,0.987), (6.512,0.922,6.577,0.987), (6.512,0.922,6.577,0.987), (6.512,0.922,6.722,0.987), (6.657,0.922,6.722,0.987), (6.657,0.922,6.722,0.987), (6.657,0.922,6.722,0.987), (6.657,0.922,6.86,0.987), (6.795,0.922,6.86,0.987), (6.795,0.922,6.98,0.987), (3.475,0.992,3.54,1.057), (3.475,0.992,3.54,1.057), (3.475,0.992,3.677,1.057), (3.612,0.992,3.677,1.057), (3.612,0.992,3.677,1.057), (3.612,0.992,3.677,1.057), (3.612,0.992,3.915,1.057), (4.437,0.992,4.522,1.057), (4.457,0.992,4.522,1.057), (4.457,0.992,4.642,1.057), (4.577,0.992,4.642,1.057), (4.577,0.992,4.827,1.057), (4.762,0.992,4.827,1.057), (4.762,0.992,4.827,1.057), (4.762,0.992,4.827,1.057), (4.762,0.992,4.965,1.057), (4.9,0.992,4.965,1.057), (4.9,0.992,5.07,1.057), (5.005,0.992,5.07,1.057), (5.005,0.992,5.137,1.057), (5.072,0.992,5.137,1.057), (5.072,0.992,5.232,1.057), (5.167,0.992,5.302,1.057), (5.237,0.992,5.302,1.057), (5.237,0.992,5.302,1.057), (5.237,0.992,5.475,1.057), (5.41,0.992,5.475,1.057), (5.41,0.992,5.475,1.057), (5.41,0.992,5.475,1.057), (5.41,0.992,5.612,1.057), (5.547,0.992,5.612,1.057), (5.547,0.992,5.735,1.057), (5.67,0.992,5.735,1.057), (5.67,0.992,5.857,1.057), (5.792,0.992,5.857,1.057), (5.792,0.992,5.942,1.057), (5.877,0.992,5.942,1.057), (5.877,0.992,5.987,1.057), (5.922,0.992,6.057,1.057), (0.44,1.02,0.505,1.085), (0.44,1.02,0.505,1.085), (0.44,1.02,0.755,1.085), (0.69,1.02,0.755,1.085), (0.69,1.02,0.755,1.085), (0.69,1.02,0.755,1.085), (0.69,1.02,0.94,1.085), (0.875,1.02,0.94,1.095), (0.875,1.03,0.94,1.095), (0.875,1.03,0.94,1.095), (0.875,1.03,1.245,1.095), (1.18,1.03,1.245,1.095), (1.18,1.03,1.245,1.095), (1.18,1.03,1.245,1.095), (1.18,1.03,1.445,1.095), (1.38,1.03,1.445,1.095), (1.38,1.03,1.445,1.095), (1.585,1.06,1.65,1.195), (1.775,1.06,1.84,1.195), (1.775,1.06,1.887,1.125), (1.822,1.06,1.887,1.125), (1.822,1.06,2.025,1.125), (1.96,1.06,2.025,1.125), (1.96,1.06,2.025,1.125), (1.96,1.06,2.025,1.125), (1.96,1.06,2.247,1.125), (2.182,1.06,2.247,1.125), (2.182,1.06,2.302,1.125), (2.237,1.06,2.302,1.125), (2.237,1.06,2.402,1.125), (2.337,1.06,2.402,1.125), (2.337,1.06,2.575,1.125), (2.51,1.06,2.575,1.195), (2.89,1.06,2.955,1.195), (3.267,1.06,3.332,1.195), (4.055,1.06,4.12,1.195), (6.382,1.06,6.447,1.195), (6.707,1.06,6.842,1.125), (6.775,1.06,6.84,1.35), (6.962,1.117,7.097,1.195), (0.25,1.13,0.315,1.35), (1.585,1.13,1.65,1.35), (2.51,1.13,2.575,1.195), (2.51,1.13,2.575,1.195), (2.51,1.13,2.76,1.195), (2.695,1.13,2.76,1.195), (2.695,1.13,2.83,1.195), (2.765,1.13,2.83,1.195), (2.765,1.13,2.955,1.195), (2.89,1.13,2.967,1.195), (2.902,1.13,2.967,1.195), (2.902,1.13,3.105,1.195), (3.04,1.13,3.105,1.195), (3.04,1.13,3.105,1.195), (3.04,1.13,3.105,1.195), (3.04,1.13,3.332,1.195), (3.267,1.13,3.332,1.195), (3.267,1.13,3.332,1.195), (3.267,1.13,3.482,1.195), (3.417,1.13,3.482,1.195), (3.417,1.13,3.482,1.195), (3.417,1.13,3.482,1.195), (3.417,1.13,3.765,1.195), (3.7,1.13,3.765,1.195), (3.7,1.13,3.765,1.195), (3.7,1.13,3.765,1.195), (3.7,1.13,3.952,1.195), (3.887,1.13,3.952,1.195), (3.887,1.13,3.952,1.195), (3.887,1.13,3.952,1.195), (3.887,1.13,4.12,1.195), (4.055,1.13,4.12,1.195), (4.055,1.13,4.12,1.195), (4.055,1.13,4.365,1.195), (4.3,1.13,4.365,1.195), (4.3,1.13,4.382,1.195), (4.317,1.13,4.382,1.195), (4.317,1.13,4.502,1.195), (4.437,1.13,4.502,1.195), (4.437,1.13,4.52,1.195), (4.455,1.13,4.52,1.195), (4.455,1.13,4.642,1.195), (4.577,1.13,4.642,1.195), (4.577,1.13,4.75,1.195), (4.685,1.13,4.75,1.195), (4.685,1.13,4.85,1.195), (4.785,1.13,4.92,1.195), (4.855,1.13,4.965,1.195), (4.9,1.13,4.965,1.195), (4.9,1.13,5.07,1.195), (5.005,1.13,5.07,1.195), (5.005,1.13,5.137,1.195), (5.072,1.13,5.137,1.195), (5.072,1.13,5.33,1.195), (5.265,1.13,5.33,1.195), (5.265,1.13,5.33,1.195), (5.265,1.13,5.33,1.195), (5.265,1.13,5.475,1.195), (5.41,1.13,5.475,1.195), (5.41,1.13,5.475,1.195), (5.41,1.13,5.475,1.195), (5.41,1.13,5.612,1.195), (5.547,1.13,5.682,1.195), (5.617,1.13,5.735,1.195), (5.67,1.13,5.735,1.195), (5.67,1.13,5.857,1.195), (5.792,1.13,5.857,1.195), (5.792,1.13,5.942,1.195), (5.877,1.13,5.942,1.195), (5.877,1.13,5.995,1.195), (5.93,1.13,5.995,1.195), (5.93,1.13,6.227,1.195), (6.162,1.13,6.227,1.195), (6.162,1.13,6.227,1.195), (6.162,1.13,6.227,1.195), (6.162,1.13,6.382,1.195), (6.317,1.13,6.382,1.195), (6.317,1.13,6.447,1.195), (0.59,1.157,0.725,1.222), (0.66,1.157,0.725,1.35), (1.155,1.167,1.29,1.232), (1.225,1.167,1.29,1.35), (1.96,1.197,2.025,1.332), (2.355,1.197,2.42,1.332), (1.96,1.267,2.025,1.35), (2.355,1.267,2.42,1.35), (0,1.285,7.13,1.4), (6.775,1.285,6.84,1.35), (6.775,1.285,6.84,1.35)])
R(sqrt_complex4_06w, L18_0, [(0,0,7.13,0.115), (0.052,0.05,0.117,0.115), (0.052,0.05,0.117,0.115), (0.052,0.05,0.117,0.115), (0.052,0.05,0.117,0.115), (0.052,0.05,0.117,0.462), (0.642,0.05,0.707,0.115), (0.642,0.05,0.707,0.115), (0.642,0.05,0.707,0.115), (0.642,0.05,0.707,0.115), (0.642,0.05,0.707,0.115), (0.642,0.05,0.707,0.115), (0.642,0.05,0.707,0.53), (1.737,0.05,1.802,0.115), (1.737,0.05,1.802,0.115), (1.737,0.05,1.802,0.115), (1.737,0.05,1.802,0.115), (1.737,0.05,1.802,0.302), (4.577,0.05,4.642,0.115), (4.577,0.05,4.642,0.115), (4.577,0.05,4.642,0.115), (4.577,0.05,4.642,0.115), (4.577,0.05,4.642,0.415), (5.402,0.05,5.467,0.115), (5.402,0.05,5.467,0.115), (5.402,0.05,5.467,0.115), (5.402,0.05,5.467,0.115), (5.402,0.05,5.467,0.305), (6.132,0.05,6.197,0.115), (6.132,0.05,6.197,0.115), (6.132,0.05,6.197,0.115), (6.132,0.05,6.197,0.115), (6.132,0.05,6.197,0.34), (6.787,0.05,6.852,0.115), (6.787,0.05,6.852,0.115), (6.787,0.05,6.852,0.115), (6.787,0.05,6.852,0.115), (6.787,0.05,6.852,0.115), (6.787,0.05,6.852,0.115), (6.787,0.05,6.852,0.34), (1.032,0.205,1.167,0.282), (1.067,0.217,1.132,0.282), (1.737,0.237,1.872,0.302), (5.402,0.24,5.467,0.375), (6.132,0.275,6.267,0.34), (6.785,0.275,6.852,0.41), (4.577,0.35,4.712,0.415), (0.052,0.397,0.117,0.462), (0.052,0.397,0.117,0.462), (0.052,0.397,0.187,0.462), (0.642,0.402,0.707,0.53), (0.642,0.402,0.892,0.467), (0.827,0.402,0.892,0.467), (0.827,0.402,1.047,0.467), (0.982,0.402,1.047,0.552), (0.642,0.465,0.707,0.53), (0.642,0.465,0.707,0.6), (3.472,0.49,3.537,0.625), (3.847,0.495,3.912,0.63), (3.472,0.502,3.537,0.567), (3.472,0.502,3.537,0.567), (3.472,0.502,3.775,0.567), (3.71,0.502,3.775,0.567), (3.71,0.502,3.775,0.567), (3.71,0.502,3.775,0.567), (3.71,0.502,3.912,0.567), (3.847,0.565,3.912,0.85), (6.382,0.577,6.447,0.642), (6.382,0.577,6.447,0.712), (6.382,0.577,6.447,0.645), (6.152,0.58,6.217,0.645), (6.152,0.58,6.217,0.645), (6.152,0.58,6.217,0.65), (6.152,0.58,6.447,0.645), (5.792,0.585,5.857,0.65), (5.792,0.585,5.857,0.782), (5.792,0.585,5.942,0.65), (5.877,0.585,5.942,0.65), (5.877,0.585,6.057,0.65), (5.992,0.585,6.057,0.65), (5.992,0.585,6.217,0.65), (6.812,0.62,6.89,0.757), (6.817,0.657,6.882,0.722), (0.167,0.672,0.232,0.827), (0.68,0.672,0.755,0.812), (0.167,0.707,0.232,0.772), (0.687,0.707,0.752,0.772), (5.67,0.717,5.805,0.782), (5.74,0.717,5.857,0.782), (5.792,0.717,5.857,0.782), (3.7,0.785,3.765,0.92), (3.7,0.785,3.912,0.85), (3.847,0.785,3.912,0.85), (3.847,0.785,3.912,0.85), (3.847,0.785,3.912,0.85), (3.847,0.785,3.912,0.85), (3.847,0.785,3.912,0.85), (3.847,0.785,4.09,0.85), (4.025,0.785,4.09,0.85), (4.025,0.785,4.09,0.987), (3.63,0.855,3.765,0.92), (3.7,0.855,3.765,0.92), (0.25,0.92,0.315,1.195), (4.025,0.922,4.09,0.987), (4.025,0.922,4.09,0.987), (4.025,0.922,4.09,0.987), (4.025,0.922,4.325,0.987), (4.26,0.922,4.325,0.987), (4.26,0.922,4.382,0.987), (4.317,0.922,4.382,0.987), (4.317,0.922,4.502,0.987), (4.437,0.922,4.502,1.057), (4.437,0.957,4.502,1.022), (4.437,0.992,4.522,1.057), (4.457,0.992,4.522,1.057), (4.457,0.992,4.642,1.057), (4.577,0.992,4.642,1.057), (4.577,0.992,4.827,1.057), (4.762,0.992,4.827,1.057), (4.762,0.992,4.827,1.057), (4.762,0.992,4.827,1.057), (4.762,0.992,4.965,1.057), (4.9,0.992,4.965,1.057), (4.9,0.992,5.07,1.057), (5.005,0.992,5.07,1.057), (5.005,0.992,5.137,1.057), (5.072,0.992,5.137,1.057), (5.072,0.992,5.232,1.057), (5.167,0.992,5.302,1.057), (5.237,0.992,5.302,1.057), (5.237,0.992,5.302,1.057), (5.237,0.992,5.475,1.057), (5.41,0.992,5.475,1.057), (5.41,0.992,5.475,1.057), (5.41,0.992,5.475,1.057), (5.41,0.992,5.612,1.057), (5.547,0.992,5.612,1.057), (5.547,0.992,5.735,1.057), (5.67,0.992,5.735,1.057), (5.67,0.992,5.857,1.057), (5.792,0.992,5.857,1.057), (5.792,0.992,5.942,1.057), (5.877,0.992,5.942,1.057), (5.877,0.992,5.987,1.057), (5.922,0.992,6.057,1.057), (1.585,1.06,1.65,1.195), (6.707,1.06,6.842,1.125), (6.775,1.06,6.84,1.35), (6.962,1.117,7.097,1.195), (6.997,1.117,7.062,1.182), (0.25,1.13,0.315,1.35), (1.585,1.13,1.65,1.35), (0.59,1.157,0.725,1.222), (0.66,1.157,0.725,1.35), (1.155,1.167,1.29,1.232), (1.225,1.167,1.29,1.35), (1.96,1.197,2.025,1.332), (2.355,1.197,2.42,1.332), (1.96,1.267,2.025,1.35), (2.355,1.267,2.42,1.35), (0,1.285,7.13,1.4), (6.775,1.285,6.84,1.35), (6.775,1.285,6.84,1.35)])
R(sqrt_complex4_06w, boundary, [(0,0,7.13,1.4)])
sqrt_complex4_06w.add(gdstk.Label('A', (0.72,0.74), layer=11, texttype=0))
sqrt_complex4_06w.add(gdstk.Label('B', (0.2,0.74), layer=11, texttype=0))
sqrt_complex4_06w.add(gdstk.Label('C', (1.1,0.25), layer=11, texttype=0))
sqrt_complex4_06w.add(gdstk.Label('D', (7.03,1.15), layer=11, texttype=0))
sqrt_complex4_06w.add(gdstk.Label('E', (6.85,0.69), layer=11, texttype=0))
sqrt_complex4_06w.add(gdstk.Label('Y', (4.47,0.99), layer=11, texttype=0))
sqrt_complex4_06w.add(gdstk.Label('VCC', (0,1.4), layer=11, texttype=0))
sqrt_complex4_06w.add(gdstk.Label('GND', (0,0), layer=11, texttype=0))

lib.write_gds('SQRT_COMPLEX4_06W.gds')
